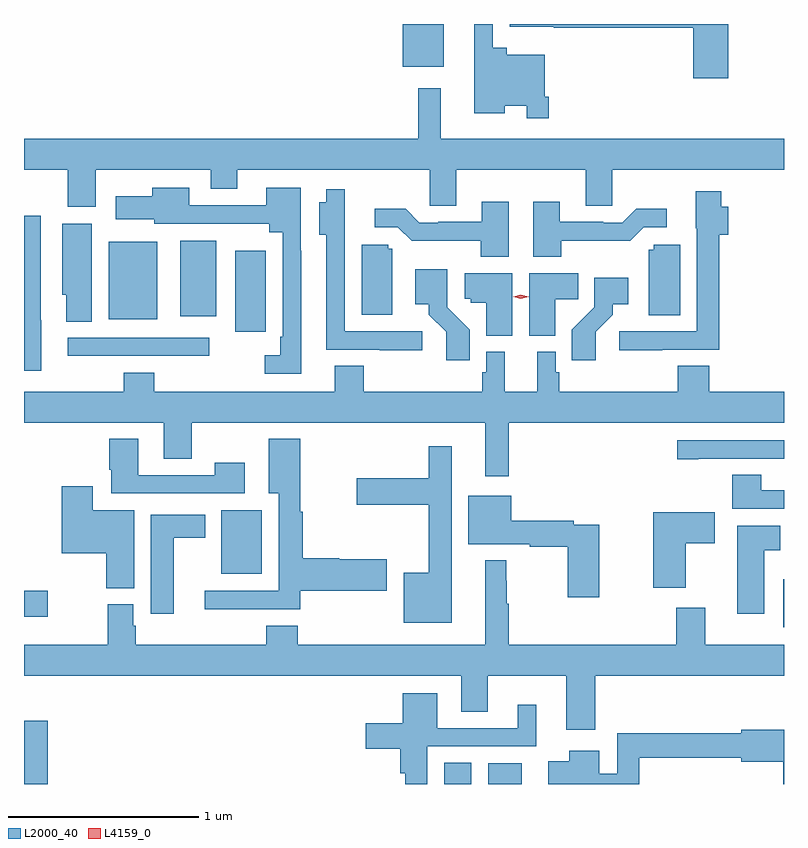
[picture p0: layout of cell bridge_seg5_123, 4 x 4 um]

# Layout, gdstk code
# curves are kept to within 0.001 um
import gdstk
lib = gdstk.Library(unit=1e-6, precision=1e-09)
def R(c, l, rs):  # rectangles x0, y0, x1, y1
    for r in rs: c.add(gdstk.rectangle(r[:2], r[2:], *l))
def P(c, l, *ps):  # polygons
    for p in ps: c.add(gdstk.Polygon(p, *l))
L2000_40 = (2000, 40)
L4159_0 = (4159, 0)

bridge_seg5_123 = lib.new_cell('bridge_seg5_123')
R(bridge_seg5_123, L2000_40, [(432.427,846.867,432.551,847.201), (434.639,846.867,434.782,846.98), (434.87,846.867,435.046,846.976), (436.424,847.691,436.427,847.945), (432.427,847.748,432.553,847.883), (433.466,847.973,433.678,848.308), (432.657,849.12,433.402,849.216), (433.538,849.246,433.699,849.673), (432.872,849.314,433.129,849.721), (433.25,849.329,433.438,849.727), (434.42,850.643,434.635,850.867)])
P(bridge_seg5_123, L2000_40, [(435.188,850.483),(435.168,850.483),(435.168,850.705),(434.969,850.705),(434.969,850.741),(434.895,850.741),(434.895,850.867),(434.798,850.867),(434.798,850.397),(434.956,850.397),(434.956,850.436),(435.072,850.436),(435.072,850.371),(435.188,850.371)],
  [(436.133,850.867),(434.984,850.867),(434.984,850.853),(435.216,850.853),(435.216,850.846),(435.95,850.846),(435.95,850.581),(436.133,850.581)],
  [(432.805,850.1),(433.409,850.1),(433.409,850.001),(433.549,850.001),(433.549,850.1),(434.562,850.1),(434.562,849.91),(434.701,849.91),(434.701,850.1),(435.383,850.1),(435.383,849.91),(435.522,849.91),(435.522,850.1),(436.427,850.1),(436.427,850.264),(434.62,850.264),(434.62,850.528),(434.503,850.528),(434.503,850.264),(432.427,850.264),(432.427,850.1),(432.658,850.1),(432.658,849.906),(432.805,849.906)],
  [(433.885,849.674),(433.884,849.674),(433.884,850.006),(433.703,850.006),(433.703,849.912),(433.297,849.912),(433.297,850.006),(433.102,850.006),(433.102,849.961),(432.909,849.961),(432.909,849.839),(433.113,849.839),(433.113,849.816),(433.718,849.816),(433.718,849.77),(433.788,849.77),(433.788,849.22),(433.776,849.22),(433.776,849.123),(433.695,849.123),(433.695,849.027),(433.885,849.027)],
  [(434.524,849.249),(434.115,849.249),(434.115,849.774),(434.116,849.774),(434.116,849.997),(434.018,849.997),(434.018,849.928),(433.982,849.928),(433.982,849.758),(434.018,849.758),(434.018,849.153),(434.299,849.153),(434.299,849.151),(434.524,849.151)],
  [(435.785,849.153),(436.085,849.153),(436.085,849.758),(436.133,849.758),(436.133,849.906),(436.098,849.906),(436.098,849.988),(435.962,849.988),(435.962,849.792),(435.969,849.792),(435.969,849.249),(435.561,849.249),(435.561,849.151),(435.785,849.151)],
  [(434.977,849.931),(434.837,849.931),(434.837,849.825),(434.608,849.825),(434.608,849.822),(434.508,849.822),(434.435,849.895),(434.274,849.895),(434.274,849.798),(434.394,849.798),(434.467,849.726),(434.83,849.726),(434.83,849.641),(434.977,849.641)],
  [(435.255,849.726),(435.617,849.725),(435.69,849.798),(435.811,849.798),(435.811,849.895),(435.649,849.895),(435.576,849.822),(435.476,849.822),(435.476,849.825),(435.247,849.825),(435.247,849.931),(435.107,849.931),(435.107,849.641),(435.255,849.641)],
  [(432.517,849.309),(432.516,849.309),(432.516,849.859),(432.427,849.859),(432.427,849.042),(432.517,849.042)],
  [(432.784,849.817),(432.629,849.817),(432.629,849.441),(432.65,849.441),(432.65,849.301),(432.784,849.301)],
  [(434.365,849.684),(434.343,849.684),(434.343,849.705),(434.204,849.705),(434.204,849.336),(434.365,849.336)],
  [(435.88,849.705),(435.741,849.705),(435.741,849.678),(435.716,849.678),(435.716,849.334),(435.88,849.334)],
  [(434.774,849.258),(434.655,849.377),(434.655,849.577),(434.486,849.577),(434.486,849.392),(434.558,849.392),(434.558,849.337),(434.649,849.247),(434.649,849.096),(434.774,849.096)],
  [(435.223,849.418),(435.344,849.418),(435.344,849.556),(435.086,849.556),(435.086,849.227),(435.223,849.227)],
  [(434.998,849.556),(434.748,849.556),(434.748,849.42),(434.778,849.42),(434.778,849.399),(434.861,849.399),(434.861,849.227),(434.998,849.227)],
  [(435.436,849.247),(435.526,849.337),(435.526,849.392),(435.607,849.392),(435.607,849.532),(435.429,849.532),(435.429,849.377),(435.31,849.258),(435.31,849.096),(435.436,849.096)],
  [(434.855,848.487),(434.977,848.487),(434.977,848.768),(436.427,848.768),(436.427,848.932),(436.034,848.932),(436.034,849.068),(435.869,849.068),(435.869,848.932),(435.245,848.932),(435.245,849.033),(435.225,849.033),(435.225,849.142),(435.128,849.142),(435.128,848.932),(434.956,848.932),(434.956,849.142),(434.859,849.142),(434.859,849.033),(434.839,849.033),(434.839,848.932),(434.216,848.932),(434.216,849.068),(434.063,849.068),(434.063,848.932),(433.112,848.932),(433.112,849.031),(432.952,849.031),(432.952,848.932),(432.427,848.932),(432.427,848.768),(433.163,848.768),(433.163,848.578),(433.311,848.578),(433.311,848.768),(434.855,848.768)],
  [(433.882,847.883),(434.335,847.883),(434.335,848.049),(434.086,848.049),(434.086,848.054),(433.895,848.054),(433.895,848.3),(433.882,848.3),(433.882,848.683),(433.715,848.683),(433.715,848.396),(433.769,848.396),(433.769,847.884),(433.377,847.884),(433.377,847.787),(433.882,847.787)],
  [(433.588,848.557),(433.432,848.557),(433.432,848.493),(433.027,848.493),(433.027,848.683),(432.875,848.683),(432.875,848.521),(432.887,848.521),(432.887,848.397),(433.588,848.397)],
  [(435.976,848.58),(436.427,848.58),(436.427,848.676),(435.864,848.676),(435.864,848.575),(435.976,848.575)],
  [(434.677,848.644),(434.556,848.644),(434.556,848.475),(434.178,848.475),(434.178,848.338),(434.556,848.338),(434.556,847.978),(434.426,847.978),(434.426,847.715),(434.677,847.715)],
  [(436.427,848.412),(436.306,848.412),(436.306,848.495),(436.154,848.495),(436.154,848.316),(436.427,848.316)],
  [(433.006,848.308),(432.79,848.308),(432.79,848.434),(432.625,848.434),(432.625,848.081),(432.86,848.081),(432.86,847.897),(433.006,847.897)],
  [(435.454,848.232),(435.32,848.232),(435.32,848.252),(434.992,848.252),(434.992,848.383),(434.765,848.383),(434.765,848.129),(435.088,848.129),(435.088,848.116),(435.289,848.116),(435.289,847.851),(435.454,847.851)],
  [(435.91,848.134),(436.063,848.134),(436.063,848.296),(435.74,848.296),(435.74,847.901),(435.91,847.901)],
  [(433.216,848.162),(433.381,848.162),(433.381,848.284),(433.094,848.284),(433.094,847.764),(433.216,847.764)],
  [(436.324,848.096),(436.408,848.096),(436.408,848.227),(436.181,848.227),(436.181,847.764),(436.324,847.764)],
  [(435.434,847.436),(436.427,847.436),(436.427,847.6),(436.012,847.6),(436.012,847.795),(435.86,847.795),(435.86,847.6),(434.977,847.6),(434.977,847.817),(434.969,847.817),(434.969,847.937),(434.966,847.937),(434.966,848.044),(434.855,848.044),(434.855,847.6),(433.868,847.6),(433.868,847.699),(433.703,847.699),(433.703,847.6),(433.016,847.6),(433.016,847.701),(433.003,847.701),(433.003,847.812),(432.868,847.812),(432.868,847.6),(432.427,847.6),(432.427,847.436),(434.729,847.436),(434.729,847.246),(434.869,847.246),(434.869,847.436),(435.281,847.436),(435.281,847.152),(435.434,847.152)],
  [(434.55,847.065),(435.124,847.065),(435.124,847.285),(435.026,847.285),(435.026,847.161),(434.602,847.161),(434.602,847.345),(434.42,847.345),(434.42,847.186),(434.226,847.186),(434.226,847.052),(434.408,847.052),(434.408,846.923),(434.434,846.923),(434.434,846.867),(434.55,846.867)],
  [(435.665,847.006),(436.202,847.006),(436.202,846.983),(436.424,846.983),(436.424,846.867),(436.427,846.867),(436.427,847.153),(436.202,847.153),(436.202,847.135),(435.549,847.135),(435.549,846.92),(435.454,846.92),(435.454,847.042),(435.296,847.042),(435.296,846.988),(435.185,846.988),(435.185,846.867),(435.665,846.867)])
P(bridge_seg5_123, L4159_0, [(435.042,849.421),(435.002,849.431),(435.001,849.431),(435.002,849.431),(435.042,849.441),(435.083,849.431),(435.083,849.431),(435.083,849.431)])

lib.write_gds('bridge_seg5_123.gds')
